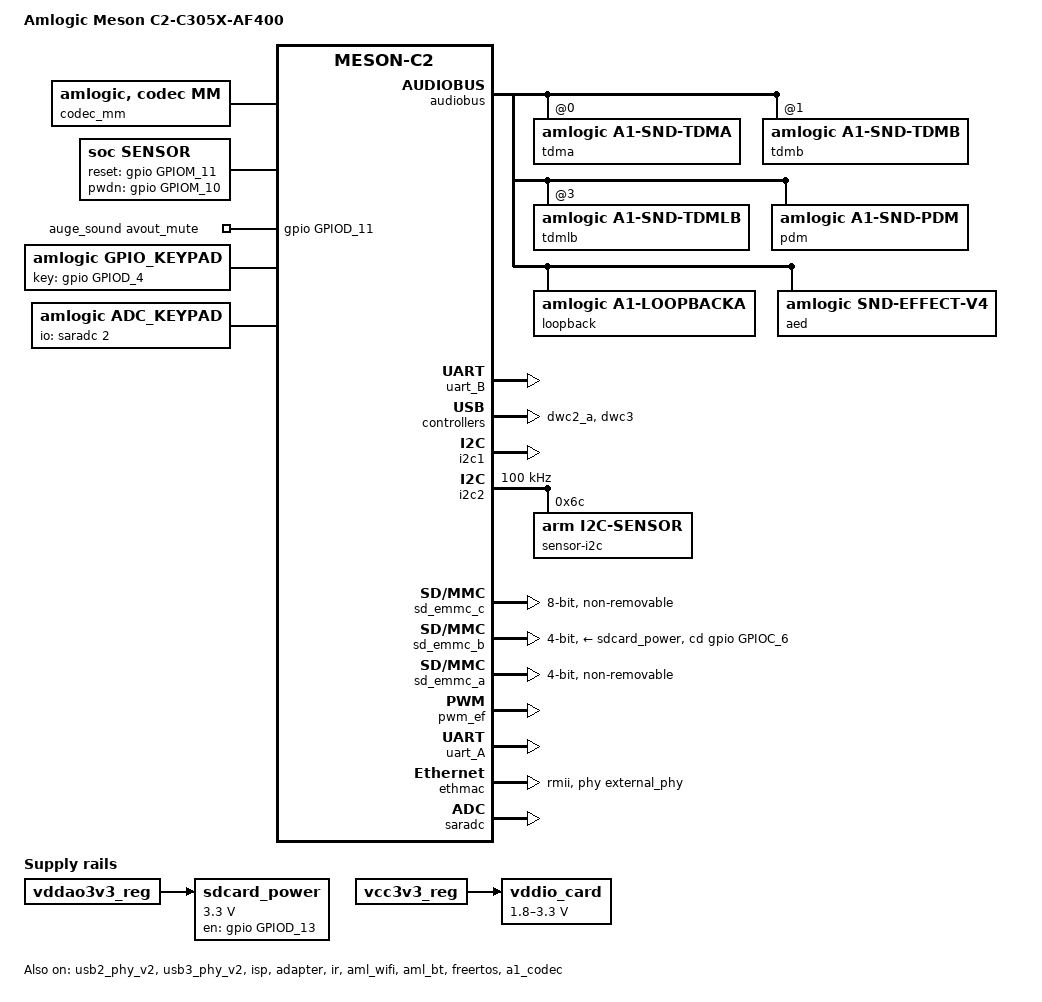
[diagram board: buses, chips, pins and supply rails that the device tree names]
// SPDX-License-Identifier: (GPL-2.0+ OR MIT)
/*
 * Copyright (c) 2019 Amlogic, Inc. All rights reserved.
 */

/dts-v1/;

#include "meson-c2.dtsi"
#include "partition_normal_linux.dtsi"

/ {
	compatible = "amlogic,c2";
	model = "Amlogic Meson C2-C305X-AF400";

	aliases {
		serial0 = &uart_B;
		serial1 = &uart_A;
		serial2 = &uart_C;
		serial3 = &uart_D;
		serial4 = &uart_E;
		i2c0 = &i2c0;
		i2c1 = &i2c1;
		i2c2 = &i2c2;
		i2c3 = &i2c3;
		i2c4 = &i2c4;
		spi0 = &spifc;
		spi1 = &spicc0;
		spi2 = &spicc1;
		tsensor0 = &tsensor;
	};

	chosen {
		stdout-path = "serial0:115200n8";
	};

	memory@0 {
		device_type = "memory";
		linux,usable-memory = <0x0 0x80000000>;
	};

	reserved-memory {
		#address-cells = <1>;
		#size-cells = <1>;
		ranges;
		secmon_reserved:linux,secmon {
			compatible = "shared-dma-pool";
			/*reusable;*/
			no-map;
			size = <0x800000>;
			alignment = <0x400000>;
			alloc-ranges = <0x05000000 0x800000>;
		};

		ion_cma_reserved:linux,ion-dev {
			compatible = "shared-dma-pool";
			reusable;
			size = <0x6400000>;
			alignment = <0x400000>;
		};

		rtos_reserved:linux,rtos_reserved {
			compatible = "amlogic, aml_rtos_memory";
			status = "okay";
			reg = <0x4800000 0x200000>;
			no-map;
		};

		dsp_fw_reserved:linux,dsp_fw {
			compatible = "shared-dma-pool";
			reusable;
			alignment = <0x400000>;
			reg = <0x3400000 0x800000>;
		};

		/*dsp_shm_reserved:linux,dsp_shm {      */
		/*	compatible = "dspshmem";            */
		/*	reg = <0x0 0x40820000 0x0 0x80000>; */
		/*	size = <0x80000>;                   */
		/*};*/

		autocap_reserved:linux,autocap_reserved {
			compatible = "amlogic, aml_autocap_memory";
			status = "okay";
			reg = <0x40000000 0x4000000>;
		};

		ramoops@0x08400000 {
			compatible = "ramoops";
			reg = <0x08400000 0x00100000>;
			record-size = <0x20000>;
			console-size = <0x20000>;
			ftrace-size = <0x80000>;
			pmsg-size = <0x0>;
			no-map;
		};

		isp_cma_reserved:linux,isp_cma {
			compatible = "shared-dma-pool";
			reusable;
			status = "okay";
			size = <0x6000000>;
			alignment = <0x400000>;
		};

		adapt_cma_reserved:linux,adapt_cma {
			compatible = "shared-dma-pool";
			reusable;
			status = "okay";
			size = <0xC00000>;
		};
		codec_mm_cma:linux,codec_mm_cma {
			compatible = "shared-dma-pool";
			reusable;
			/* ion_codec_mm max can alloc size 80M*/
			size = <0xb000000>;
			alignment = <0x400000>;
			linux,contiguous-region;
		};
		/* codec shared reserved */
		codec_mm_reserved:linux,codec_mm_reserved {
			compatible = "amlogic, codec-mm-reserved";
			size = <0x0>;
			alignment = <0x100000>;
			//no-map;
		};
		gdc_cma_reserved:linux,gdc_cma {
			compatible = "shared-dma-pool";
			reusable;
			status = "disabled";
			size = <0x04000000>;
			alignment = <0x400000>;
		};

		jpegenc_cma_reserved:linux,jpegenc_cma {
			compatible = "shared-dma-pool";
			reusable;
			size = <0x2400000>;
			alignment = <0x400000>;
		};

		/* global autoconfigured region for contiguous allocations */
		linux,cma {
			compatible = "shared-dma-pool";
			reusable;
			size = <0x800000>;
			alignment = <0x400000>;
			linux,cma-default;
			alloc-ranges = <0x0 0x30000000>;
		};
	};

	free_reserved {
		compatible = "amlogic, free_reserved";
		memory-region = <&autocap_reserved>;
		status = "okay";
	};

	codec_mm {
		compatible = "amlogic, codec, mm";
		memory-region = <&codec_mm_cma &codec_mm_reserved>;
		dev_name = "codec_mm";
		status = "okay";
	};

	sensor: sensor {
		compatible = "soc, sensor";
		status = "okay";
		sensor-name = "imx335"; /*imx290;os08a10;imx227*/
		pinctrl-names= "default";
		clocks = <&clkc CLKID_GP_PLL_MCLK1_GATE>;
		clock-names = "mclk_0";
		reset = <&gpio GPIOM_11 GPIO_ACTIVE_HIGH>;
		pwdn = <&gpio GPIOM_10 GPIO_ACTIVE_HIGH>;
	};

	iq: iq {
		compatible = "soc, iq";
		status = "okay";
		sensor-name = "imx335"; /*imx290;os08a10;imx227*/
	};

	lens: lens {
		compatible = "soc, lens";
		status = "okay";
	};

	sdcard_power: regulator-sdcard {
		compatible = "regulator-fixed";
		regulator-name = "SDCARD_POWER";
		vin-supply = <&vddao3v3_reg>;
		regulator-min-microvolt = <3300000>;
		regulator-max-microvolt = <3300000>;
		gpio = <&gpio GPIOD_13 GPIO_ACTIVE_HIGH>;
		enable-active-high;
		regulator-boot-on;
	};

	vddio_card: gpio-regulator {
		compatible = "regulator-gpio";
		regulator-name = "VDDIO_CARD";
		vin-supply = <&vcc3v3_reg>;
		regulator-min-microvolt = <1800000>;
		regulator-max-microvolt = <3300000>;
		gpio = <&gpio GPIOE_2 GPIO_ACTIVE_LOW>;
		gpios-states = <1>;
		enable-active-low;

		/* Based on P200 schematics, signal CARD_1.8V/3.3V_CTR */
		states = <1800000 0
			  3300000 1>;
	};

	aml_enc {
		compatible = "cnm, MultiEnc";
		dev_name = "amvenc_multi";
		status = "okay";
		config_mm_sz_mb = <256>;
		power-domains = <&pwrdm PDID_CX_WAVE>;
		clocks = <&clkc CLKID_SYS_DOS
			&clkc CLKID_DOS_APB
			&clkc CLKID_WAVE_A_GATE
			&clkc CLKID_WAVE_B_GATE
			&clkc CLKID_WAVE_C_GATE>;
		clock-names = "clk_dos",
			"clk_apb_dos",
			"clk_MultiEnc_A",
			"clk_MultiEnc_B",
			"clk_MultiEnc_C";
		interrupts = <0 58 1
			0 59 1>;
		interrupt-names = "multienc_irq",
			"multienc_idle_irq";
		#address-cells=<1>;
		#size-cells=<1>;
		ranges;
		io_reg_base {
			reg = <0xfe070000 0x10000>;
		};
	};
	/* Audio Related start */
	dummy_codec:dummy_codec{
		#sound-dai-cells = <0>;
		compatible = "amlogic, aml_dummy_codec";
		status = "okay";
	};

	a1_codec:a1_codec {
		#sound-dai-cells = <0>;
		compatible = "amlogic, c2_acodec";
		status = "okay";
		reg = <0xFE004800 0x20>;
		tdmout_index = <1>;
		tdmin_index = <1>;
		dat0_ch_sel = <0>;
		dacr_output_inv = <0>;
		power-domains = <&pwrdm PDID_CX_ACODEC>;
	};

	auge_sound {
		compatible = "amlogic, auge-sound-card";
		aml-audio-card,name = "AML-AUGESOUND";

		/*avout mute gpio*/
		avout_mute-gpios = <&gpio GPIOD_11 GPIO_ACTIVE_HIGH>;

		aml-audio-card,dai-link@0 {
			format = "dsp_a";
			mclk-fs = <512>;
			//continuous-clock;
			//bitclock-inversion;
			//frame-inversion;
			/* master mode */
			bitclock-master = <&tdma>;
			frame-master = <&tdma>;
			/* slave mode */
			/*
			 * bitclock-master = <&tdmacodec>;
			 * frame-master = <&tdmacodec>;
			 */
			suffix-name = "alsaPORT-pcm";
			tdmacpu: cpu {
				sound-dai = <&tdma>;
				dai-tdm-slot-tx-mask =
							<1 1 1 1 1 1 1 1>;
				dai-tdm-slot-rx-mask =
							<1 1 1 1 1 1 1 1>;
				dai-tdm-slot-num = <8>;
				dai-tdm-slot-width = <32>;
				system-clock-frequency = <24576000>;
			};
			tdmacodec: codec {
				sound-dai = <&dummy_codec>;
			};
		};

		aml-audio-card,dai-link@1 {
			format = "i2s";// "dsp_a";
			mclk-fs = <256>;
			//continuous-clock;
			//bitclock-inversion;
			//frame-inversion;
			/* master mode */
			bitclock-master = <&tdmb>;
			frame-master = <&tdmb>;
			/* slave mode */
			//bitclock-master = <&tdmbcodec>;
			//frame-master = <&tdmbcodec>;
			/* suffix-name, sync with android audio hal
			 * what's the dai link used for
			 */
			suffix-name = "alsaPORT-i2s";
			tdmbcpu: cpu {
				sound-dai = <&tdmb>;
				dai-tdm-slot-tx-mask = <1 1>;
				dai-tdm-slot-rx-mask = <0 1>;
				dai-tdm-slot-num = <2>;
				dai-tdm-slot-width = <32>;
				system-clock-frequency = <1155072000>;
			};
			tdmbcodec: codec {
				sound-dai = <&a1_codec>;
			};
		};

#if 0
		aml-audio-card,dai-link@2 {
			format = "i2s";// "dsp_a";
			mclk-fs = <256>;
			//continuous-clock;
			//bitclock-inversion;
			//frame-inversion;
			/* master mode */
			bitclock-master = <&tdmlb>;
			frame-master = <&tdmlb>;
			/* slave mode */
			//bitclock-master = <&tdmlbcodec>;
			//frame-master = <&tdmlbcodec>;
			/* suffix-name, sync with android audio hal
			 * what's the dai link used for
			 */
			suffix-name = "alsaPORT-i2s";
			cpu {
				sound-dai = <&tdmlb>;
				dai-tdm-slot-tx-mask = <1 1>;
				dai-tdm-slot-rx-mask = <1 1>;
				dai-tdm-slot-num = <2>;
				dai-tdm-slot-width = <32>;
				system-clock-frequency = <12288000>;
			};
			tdmlbcodec: codec {
				sound-dai = <&dummy_codec>;
			};
		};
#endif

		aml-audio-card,dai-link@2 {
			mclk-fs = <64>;
			/* suffix-name, sync with android audio hal
			 * what's the dai link used for
			 */
			suffix-name = "alsaPORT-pdm";
			cpu {
				sound-dai = <&pdm>;
			};
			codec {
				sound-dai = <&dummy_codec>;
			};
		};

		aml-audio-card,dai-link@4 {
			mclk-fs = <256>;
			continuous-clock;
			suffix-name = "alsaPORT-loopback";
			cpu {
				sound-dai = <&loopback>;
				system-clock-frequency = <12288000>;
			};
			codec {
				sound-dai = <&dummy_codec>;
			};
		};
	};
	audiolocker: locker {
		compatible = "amlogic, audiolocker";
		clocks = <&clkaudio CLKID_AUDIO_LOCKER_OUT
				&clkaudio CLKID_AUDIO_LOCKER_IN
				&clkaudio CLKID_AUDIO_MCLK_C
				&clkaudio CLKID_AUDIO_MCLK_D
				&clkc CLKID_FCLK_DIV2
				&clkc CLKID_FCLK_DIV3>;
		clock-names = "lock_out", "lock_in", "out_src",
					"in_src", "out_calc", "in_ref";
		interrupts = <GIC_SPI 42 IRQ_TYPE_EDGE_RISING>;
		interrupt-names = "irq";
		frequency = <49000000>; /* pll */
		dividor = <49>; /* locker's parent */
		power-domains = <&pwrdm PDID_CX_AUDIO>;
		status = "okay";
	};
	/* Audio Related end */
	/* to check
	 *wifivbat_power: regulator-wifivbat {
	 *	compatible = "regulator-fixed";
	 *	regulator-name = "WIFIVBAT_POWER";
	 *	vin-supply = <&vddao3v3_reg>;
	 *	regulator-min-microvolt = <3300000>;
	 *	regulator-max-microvolt = <3300000>;
	 *	gpio = <&gpio GPIOD_13 GPIO_ACTIVE_HIGH>;
	 *	enable-active-high;
	 *	regulator-boot-on;
	 *	regulator-always-on;
	 *};

	 *vddio_wf: regulator_wfio {
	 *	compatible = "regulator-fixed";
	 *	regulator-name = "VDDIO_WF";
	 *	vin-supply = <&vddao1v8_reg>;
	 *	regulator-min-microvolt = <1800000>;
	 *	regulator-max-microvolt = <1800000>;
	 *	regulator-boot-on;
	 *	regulator-always-on;
	 *};
	 */

	gpio_keypad{
		compatible = "amlogic, gpio_keypad";
		status = "okay";
		scan_period = <20>;
		key_num = <1>;
		key_name = "power";
		key_code = <116>;
		key-gpios = <&gpio  GPIOD_4  GPIO_ACTIVE_HIGH>;
		detect_mode = <0>;/*0:polling mode, 1:irq mode*/
	};

	unifykey{
		compatible = "amlogic,unifykey";
		status = "okay";
		unifykey-num = <22>;
		unifykey-index-0 = <&keysn_0>;
		unifykey-index-1 = <&keysn_1>;
		unifykey-index-2 = <&keysn_2>;
		unifykey-index-3 = <&keysn_3>;
		unifykey-index-4 = <&keysn_4>;
		unifykey-index-5 = <&keysn_5>;
		unifykey-index-6 = <&keysn_6>;
		unifykey-index-7 = <&keysn_7>;
		unifykey-index-8 = <&keysn_8>;
		unifykey-index-9 = <&keysn_9>;
		unifykey-index-10= <&keysn_10>;
		unifykey-index-11= <&keysn_11>;
		unifykey-index-12= <&keysn_12>;
		unifykey-index-13= <&keysn_13>;
		unifykey-index-14= <&keysn_14>;
		unifykey-index-15= <&keysn_15>;
		unifykey-index-16= <&keysn_16>;
		unifykey-index-17= <&keysn_17>;
		unifykey-index-18= <&keysn_18>;
		unifykey-index-19= <&keysn_19>;
		unifykey-index-20= <&keysn_20>;
		unifykey-index-21= <&keysn_21>;

		keysn_0: key_0{
			key-name = "usid";
			key-device = "normal";
			key-permit = "read","write","del";
		};
		keysn_1:key_1{
			key-name = "mac";
			key-device = "normal";
			key-permit = "read","write","del";
		};
		keysn_2:key_2{
			key-name = "hdcp";
			key-device = "secure";
			key-type = "sha1";
			key-permit = "read","write","del";
		};
		keysn_3:key_3{
			key-name = "secure_boot_set";
			key-device = "efuse";
			key-permit = "write";
		};
		keysn_4:key_4{
			key-name = "mac_bt";
			key-device = "normal";
			key-permit = "read","write","del";
			key-type  = "mac";
		};
		keysn_5:key_5{
			key-name = "mac_wifi";
			key-device = "normal";
			key-permit = "read","write","del";
			key-type = "mac";
		};
		keysn_6:key_6{
			key-name = "hdcp2_tx";
			key-device = "normal";
			key-permit = "read","write","del";
		};
		keysn_7:key_7{
			key-name = "hdcp2_rx";
			key-device = "normal";
			key-permit = "read","write","del";
		};
		keysn_8:key_8{
			key-name = "widevinekeybox";
			key-device = "secure";
			key-permit = "read","write","del";
		};
		keysn_9:key_9{
			key-name = "deviceid";
			key-device = "normal";
			key-permit = "read","write","del";
		};
		keysn_10:key_10{
			key-name = "hdcp22_fw_private";
			key-device = "secure";
			key-permit = "read","write","del";
		};
		keysn_11:key_11{
			key-name = "PlayReadykeybox25";
			key-device = "secure";
			key-permit = "read","write","del";
		};
		keysn_12:key_12{
			key-name = "prpubkeybox";// PlayReady
			key-device = "secure";
			key-permit = "read","write","del";
		};
		keysn_13:key_13{
			key-name = "prprivkeybox";// PlayReady
			key-device = "secure";
			key-permit = "read","write","del";
		};
		keysn_14:key_14{
			key-name = "attestationkeybox";// attestation key
			key-device = "secure";
			key-permit = "read","write","del";
		};
		keysn_15:key_15{
			key-name = "region_code";
			key-device = "normal";
			key-permit = "read","write","del";
		};
		keysn_16:key_16{
			key-name = "netflix_mgkid";
			key-device = "secure";
			key-permit = "read","write","del";
		};
		keysn_17:key_17{
			key-name = "attestationdevidbox";// attest dev id box
			key-device = "secure";
			key-permit = "read","write","del";
		};
		keysn_18:key_18{
			key-name = "oemkey";
			key-device = "normal";
			key-permit = "read","write","del";
		};
		keysn_19:key_19{
			key-name = "lcd";
			key-device = "normal";
			key-permit = "read","write","del";
		};
		keysn_20:key_20{
			key-name = "lcd_extern";
			key-device = "normal";
			key-permit = "read","write","del";
		};
		keysn_21:key_21{
			key-name = "backlight";
			key-device = "normal";
			key-permit = "read","write","del";
		};
	};//End unifykey

	adc_keypad {
		compatible = "amlogic, adc_keypad";
		status = "okay";
		key_name = "update", "vol-", "vol+", "ok";
		key_num = <4>;
		io-channels = <&saradc 2>;
		io-channel-names = "key-chan-2";
		key_chan = <2 2 2 2>;
		key_code = <141 114 115 28>;
		key_val = <0 143 266 389>; //val=voltage/1800mV*1023
		key_tolerance = <40 40 40 40>;
	};
};

/* Audio Related start */
&audiobus {
	tdma: tdm@0 {
		compatible = "amlogic, a1-snd-tdma";
		#sound-dai-cells = <0>;
		dai-tdm-lane-slot-mask-in = <0 1>;
		dai-tdm-lane-oe-slot-mask-out = <1 0>;
		dai-tdm-clk-sel = <0>;
		clocks = <&clkaudio CLKID_AUDIO_MCLK_A
				&clkc CLKID_FCLK_DIV3>;
		clock-names = "mclk", "clk_srcpll";
		pinctrl-names = "tdm_pins";
		pinctrl-0 = </*&tdmout_a*/ &tdmin_a>;
		power-domains = <&pwrdm PDID_CX_AUDIO>;

		status = "okay";
	};

	tdmb: tdm@1 {
		compatible = "amlogic, a1-snd-tdmb";
		#sound-dai-cells = <0>;
		dai-tdm-lane-slot-mask-in = <1 0 0 0>;
		dai-tdm-lane-slot-mask-out = <1 0 0 0>;
		/* dai-tdm-lane-oe-slot-mask-in = <0 1>; */
		dai-tdm-clk-sel = <1>;
		clocks = <&clkaudio CLKID_AUDIO_MCLK_B
				&clkaudio CLKID_AUDIO_MCLK_PAD0
				&clkc CLKID_HIFI_PLL>;
		clock-names = "mclk", "mclk_pad", "clk_srcpll";
		pinctrl-names = "tdm_pins";
		pinctrl-0 = <&tdmb_mclk &tdmout_b /*&tdmin_b*/>;

		/* tdmin data comes from ACODEC adc */
		acodec_adc = <1>;

		/*
		 * 0: tdmout_a;
		 * 1: tdmout_b;
		 * 2: tdmout_c;
		 * 3: spdifout;
		 * 4: spdifout_b;
		 */
		//samesource_sel = <3>;
		start_clk_enable = <1>;
		power-domains = <&pwrdm PDID_CX_AUDIO>;

		src-clk-freq = <1155072000>;

		status = "okay";
	};

	tdmlb:tdm@3 {
		compatible = "amlogic, a1-snd-tdmlb";
		#sound-dai-cells = <0>;

		dai-tdm-lane-lb-slot-mask-in = <1 0 0 0>;
		dai-tdm-clk-sel = <1>;

		clocks = <&clkaudio CLKID_AUDIO_MCLK_B
				&clkc CLKID_FCLK_DIV3>;
		clock-names = "mclk", "clk_srcpll";

		/*
		 * select tdmin_lb src;
		 * AXG
		 *  0: TDMOUTA
		 *  1: TDMOUTB
		 *  2: TDMOUTC
		 *  3: PAD_TDMINA
		 *  4: PAD_TDMINB
		 *  5: PAD_TDMINC
		 *
		 * G12A/G12B
		 *  0: TDMOUTA
		 *  1: TDMOUTB
		 *  2: TDMOUTC
		 *  3: PAD_TDMINA_DIN*
		 *  4: PAD_TDMINB_DIN*
		 *  5: PAD_TDMINC_DIN*
		 *  6: PAD_TDMINA_D*, oe pin
		 *  7: PAD_TDMINB_D*, oe pin
		 *
		 * TL1/SM1
		 *  0: TDMOUTA
		 *  1: TDMOUTB
		 *  2: TDMOUTC
		 *  3: PAD_TDMINA_DIN*
		 *  4: PAD_TDMINB_DIN*
		 *  5: PAD_TDMINC_DIN*
		 *  6: PAD_TDMINA_D*
		 *  7: PAD_TDMINB_D*
		 *  8: PAD_TDMINC_D*
		 *  9: HDMIRX_I2S
		 *  10: ACODEC_ADC
		 *
		 * A1
		 *  0: TDMOUTA
		 *  1: TDMOUTB
		 *  3: PAD_TDMINA_DIN*
		 *  4: PAD_TDMINB_DIN*
		 */

		lb-src-sel = <1>;
		power-domains = <&pwrdm PDID_CX_AUDIO>;

		status = "okay";
	};

	pdm: pdm {
		compatible = "amlogic, a1-snd-pdm";
		#sound-dai-cells = <0>;

		clocks = <&clkaudio CLKID_AUDIO2_GATE_PDM
			&clkc CLKID_HIFI_PLL
			&clkc CLKID_HIFI_PLL
			&clkaudio CLKID_AUDIO2_PDM_DCLK
			&clkaudio CLKID_AUDIO2_PDM_SYSCLK>;
		clock-names = "gate",
			"sysclk_srcpll",
			"dclk_srcpll",
			"pdm_dclk",
			"pdm_sysclk";

		pinctrl-names = "pdm_pins";
		pinctrl-0 = </*&pdmin*/>;

		/* mode 0~4, defalut:1 */
		filter_mode = <1>;
		lane-mask-in = <1 1 0 0>;

		sys-src-clk-freq = <1155072000>;
		power-domains = <&pwrdm PDID_CX_PDM>;

		status = "okay";
	};

	asrcb: resample@1 {
		compatible = "amlogic, c2-resample-b";
		clocks = <&clkc CLKID_HIFI_PLL
			&clkaudio CLKID_AUDIO_MCLK_D
			&clkaudio CLKID_AUDIO_RESAMPLEA>;
		clock-names = "resample_pll", "resample_src", "resample_clk";

		/*this resample is only used for loopback_A.*/
		/*only support 16000 or 48000Hz for capture*/
		capture_sample_rate = <16000>;

		/* hifi pll rate */
		src-clk-freq = <1155072000>;

		status = "disabled";
	};

	vad:vad {
		compatible = "amlogic, snd-vad-top";
		#sound-dai-cells = <0>;

		clocks = <&clkaudio CLKID_AUDIO2_GATE_TOVAD
			/* &clkc CLKID_FCLK_DIV2 */
			&xtal
			&clkaudio CLKID_AUDIO2_VAD_CLK>;
		clock-names = "gate", "pll", "clk";

		interrupts = <GIC_SPI 185 IRQ_TYPE_EDGE_RISING
				GIC_SPI 186 IRQ_TYPE_EDGE_RISING>;
		interrupt-names = "irq_wakeup", "irq_frame_sync";

		/*
		 * Data src sel:
		 * 2: tdmin_c, actually tdmin_vad
		 * 4: pdmin
		 */
		src = <4>;

		/*
		 * deal with hot word in user space or kernel space
		 * 0: in user space
		 * 1: in kernel space
		 */
		level = <1>;

		status = "disabled";
	};

	loopback: loopback {
		compatible = "amlogic, a1-loopbacka";
		#sound-dai-cells = <0>;

		original-src = <&tdmb>;
		//tdmin_lb-src = <&tdmin_lb>;

		clocks = <&clkaudio CLKID_AUDIO2_GATE_PDM
			&clkc CLKID_HIFI_PLL
			&clkc CLKID_HIFI_PLL
			&clkaudio CLKID_AUDIO2_PDM_DCLK
			&clkaudio CLKID_AUDIO2_PDM_SYSCLK
			&clkc CLKID_HIFI_PLL
			&clkaudio CLKID_AUDIO_MCLK_C>;
		clock-names = "pdm_gate",
			"pdm_sysclk_srcpll",
			"pdm_dclk_srcpll",
			"pdm_dclk",
			"pdm_sysclk",
			"tdminlb_mpll",
			"tdminlb_mclk";

		/* datain src
		 * 0: tdmin_a;
		 * 1: tdmin_b;
		 * 2: tdmin_c;
		 * 3: spdifin;
		 * 4: pdmin;
		 */
		datain_src = <1>;
		datain_chnum = <1>;
		datain_chmask = <0x1>;
		/* config which data pin for loopback */
		datain-lane-mask-in = <1 0 0 0>;

		sys-src-clk-freq = <1155072000>;

		/* calc mclk for datalb */
		mclk-fs = <256>;

		/* tdmin_lb src
		 * 0: tdmoutA
		 * 1: tdmoutB
		 * 2: tdmoutC
		 * 3: PAD_TDMINA_DIN*, refer to core pinmux
		 * 4: PAD_TDMINB_DIN*, refer to core pinmux
		 * 5: PAD_TDMINC_DIN*, refer to core pinmux
		 * 6: PAD_TDMINA_D*, oe, refer to core pinmux
		 * 7: PAD_TDMINB_D*, oe, refer to core pinmux
		 */
		/* if tdmin_lb >= 3, use external loopback */
		datalb_src = <1>;
		datalb_chnum = <2>;
		datalb_chmask = <0x1>;
		/* config which data pin as loopback */
		datalb-lane-mask-in = <1 0 0 0>;
		power-domains = <&pwrdm PDID_CX_AUDIO>;

		status = "okay";
	};

	aed:effect {
		compatible = "amlogic, snd-effect-v4";
		#sound-dai-cells = <0>;
		clocks = <&clkaudio CLKID_AUDIO_GATE_EQDRC
			&clkc CLKID_FCLK_DIV3
			&clkaudio CLKID_AUDIO_EQDRC>;
		clock-names = "gate", "srcpll", "eqdrc";
		/*
		 * 0:tdmout_a
		 * 1:tdmout_b
		 * 2:tdmout_c
		 * 3:spdifout
		 * 4:spdifout_b
		 */
		eqdrc_module = <1>;
		/* max 0xf, each bit for one lane, usually one lane */
		lane_mask = <0x1>;
		/* max 0xff, each bit for one channel */
		channel_mask = <0x3>;
		power-domains = <&pwrdm PDID_CX_AUDIO>;
		status = "okay";
	};
}; /* end of audiobus */
/* Audio Related end */

&periphs_pinctrl {
	/* Audio Related start */
		tdmout_a: tdmout_a {
		mux { /* GPIOX_11, GPIOX_10, GPIOX_9 */
			groups = "tdm_a_sclk",
				"tdm_a_fs",
				"tdm_a_dout0";
			function = "tdm_a";
		};
	};

	tdmin_a: tdmin_a {
		mux { /* GPIOX_8 */
			groups = "tdm_a_din1";
			function = "tdm_a";
		};
	};

	tdmb_mclk: tdmb_mclk {
		mux {
			groups = "mclk_0";
			function = "mclk_0";
			drive-strength = <2>;
		};
	};

	tdmout_b: tdmout_b {
		mux { /* GPIOA_1, GPIOA_2, GPIOA_3 */
			groups = "tdm_b_sclk",
				"tdm_b_fs",
				"tdm_b_dout0";
			function = "tdm_b";
			drive-strength = <2>;
		};
	};

	tdmin_b:tdmin_b {
		mux { /* GPIOA_7 */
			groups = "tdm_b_din0";
			function = "tdm_b";
			drive-strength = <2>;
		};
	};

	spdifin: spdifin {
		mux {/* GPIOF_6 */
			groups = "spdif_in_f6";
			function = "spdif_in";
		};
	};

	pdmin: pdmin {
		mux { /* GPIOM_3, GPIOM_2 */
			groups =
				"pdm_din0_m",
				"pdm_dclk_m";
			function = "pdm";
		};
	};

	/* Audio Related end */
};

&usb2_phy_v2 {
	status = "okay";
	portnum = <1>;
	otg-phy-index = <0>;
};

&usb3_phy_v2 {
	status = "okay";
	portnum = <0>;
	otg = <1>;
	gpio-vbus-power = "GPIOD_9";
	gpios = <&gpio GPIOD_9 GPIO_ACTIVE_HIGH>;
};

&aml_bc {
	status = "disable";
};

&aml_cc {
	status = "disable";
};

&uart_B {
	status = "okay";
};

&dwc2_a {
	status = "okay";
	/** 0: normal, 1: otg+dwc3 host only, 2: otg+dwc3 device only*/
	controller-type = <3>;
};

&dwc3 {
	status = "okay";
};

&i2c1 {
	status = "okay";
	pinctrl-names = "default";
	pinctrl-0 = <&i2c1_master_pins2>;
};

&i2c2 {
	status = "okay";
	pinctrl-names = "default", "sleep";
	pinctrl-0 = <&i2c2_master_pins2>;
	pinctrl-1 = <&i2c2_master_sleep_pins2>;
	clock-frequency = <100000>; /* default 100k */
	sensor-i2c@6c {
		compatible = "arm, i2c-sensor";
		reg = <0x6c>;
		reg-names = "i2c-sensor";
		slave-addr = <0x6c>;
		reg-type = <2>;
		reg-data-type = <1>;
		link-device = <&phycsi>;
	};
};

&isp {
	status = "okay";
	temper-line-offset = <0x1f80>;
	temper-buf-size = <32>;
	temper-frame-num = <1>;
	temper-frame-size = <0x2000000>;
	memory-region = <&isp_cma_reserved>;
};

&adapter {
	status = "okay";
	mem_alloc = <12>;
	memory-region = <&adapt_cma_reserved>;
};

&ir {
	status = "okay";
	pinctrl-0 = <&remote_pins>;
	pinctrl-names = "default";
};

&sd_emmc_c {
	status = "okay";
	pinctrl-0 = <&emmc_pins>;
	pinctrl-1 = <&emmc_clk_gate_pins>;
	pinctrl-2 = <&emmc_pins_sleep>;
	pinctrl-names = "default", "clk-gate", "sleep";
	cap-mmc-highspeed;
	non-removable;
	//mmc-ddr-1_8v;
	//mmc-hs200-1_8v;
	//mmc-hs400-1_8v;
	max-frequency = <200000000>;
	disable-wp;
	bus-width = <8>;
};

&sd_emmc_b {
	status = "okay";
	pinctrl-0 = <&sdcard_pins>;
	pinctrl-1 = <&sdcard_clk_gate_pins>;
	pinctrl-2 = <&sd_1bit_pins>;
	pinctrl-3 = <&b_uart_pins1
		     &sdcard_clk_gate_pins &ao_to_sd_uart_pins>;
	pinctrl-4 = <&b_uart_pins1
		     &sd_1bit_pins &ao_to_sd_uart_pins>;
	pinctrl-5 = <&sdcard_pins &b_uart_enable_pins1>;
	pinctrl-6 = <&b_uart_pins1
		     &ao_to_sd_uart_pins>;
	pinctrl-7 = <&sdcard_pins &b_uart_enable_pins1>;
	pinctrl-8 = <&b_uart_pins1
		     &ao_to_sd_uart_pins>;
	pinctrl-9 = <&sdcard_pins_sleep>;
	pinctrl-names = "sd_default",
			"clk-gate",
			"sd_1bit_pins",
			"sd_clk_cmd_uart_pins",
			"sd_1bit_uart_pins",
			"sd_to_ao_uart_pins",
			"ao_to_sd_uart_pins",
			"sd_to_ao_jtag_pins",
			"ao_to_sd_jtag_pins",
			 "sleep";
	bus-width = <4>;
	cap-sd-highspeed;
	sd-uhs-sdr104;
	disable-wp;
	max-frequency = <200000000>;
	cd-gpios = <&gpio GPIOC_6 GPIO_ACTIVE_HIGH>;
	//dat1-gpios = <&gpio GPIOC_1 GPIO_ACTIVE_HIGH>;
	dat3-gpios = <&gpio GPIOC_3 GPIO_ACTIVE_HIGH>;
	vmmc-supply = <&sdcard_power>;
	vqmmc-supply = <&vddio_card>;
};

&sd_emmc_a {
	status = "okay";
	pinctrl-0 = <&sdio_m_pins>;
	pinctrl-1 = <&sdio_m_clk_gate_pins>;
	pinctrl-names = "default", "clk-gate";
	bus-width = <4>;
	cap-sd-highspeed;
	sd-uhs-sdr104;
	non-removable;
	max-frequency = <200000000>;
	disable-wp;
	cap-sdio-irq;
	keep-power-in-suspend;
};

&pwm_ef {
	status = "okay";
	pinctrl-names = "default";
	pinctrl-0 = <&pwm_e_pins1>;
};

&aml_wifi {
	status = "okay";
	power_on-gpios = <&gpio GPIOM_6 GPIO_ACTIVE_HIGH>;
	interrupt-gpios = <&gpio GPIOM_7 GPIO_ACTIVE_HIGH>;
};

&aml_bt {
	status = "okay";
	reset-gpios = <&gpio GPIOX_17 GPIO_ACTIVE_HIGH>;
};

&uart_A {
	status = "okay";
};

&mtd_nand {
	status = "disabled";
	#address-cells = <1>;
	#size-cells = <0>;

	pinctrl-names = "nand_norb_mod","nand_cs_only";
	pinctrl-0 = <&all_nand_pins>;
	pinctrl-1 = <&nand_cs_pins>;
	bl_mode = <1>;
	fip_copies = <4>;
	fip_size = <0x200000>;
	ship_bad_block = <1>;
	disa_irq_flag = <1>;
	nand@bootloader {
		reg = <0>;
		#address-cells = <1>;
		#size-cells = <1>;
		nand-ecc-maximize;
		partition@0 {
			label = "bootloader";
			reg = <0x0 0x00000000>;
		};
	};
	nand@normal {
		reg = <0>;
		#address-cells = <1>;
		#size-cells = <1>;
		nand-ecc-maximize;

		partition@0 {
			label = "tpl";
			reg = <0x0 0x00000000>;
		};
		partition@2 {
			label = "recovery";
			reg = <0x0 0x2000000>;
		};
		partition@3 {
			label = "boot";
			reg = <0x0 0x2000000>;
		};
		partition@4 {
			label = "system";
			reg = <0x0 0x13000000>;
		};
		partition@5 {
			label = "data";
			reg = <0x0 0xffffffff>;
		};
	};
};

&spifc {
	status = "disabled";
	pinctrl-names = "default";
	pinctrl-0 = <&spifc_pins>;
	spi-nand@0 {
		compatible = "spi-nand";
		status = "disabled";
		reg = <0>;
		spi-max-frequency = <38000000>;
		spi-tx-bus-width = <4>;
		spi-rx-bus-width = <4>;
		bl_mode = <1>;
		fip_copies = <4>;
		fip_size = <0x200000>;
		partition = <&snand_partitions>;
		snand_partitions: snand_partitions{
			bootloader{
				offset=<0x0 0x0>;
				size=<0x0 0x0>;
			};
			tpl{
				offset=<0x0 0x0>;
				size=<0x0 0x0>;
			};
			logo{
				offset=<0x0 0x0>;
				size=<0x0 0x200000>;
			};
			recovery{
				offset=<0x0 0x0>;
				size=<0x0 0x1000000>;
			};
			boot{
				offset=<0x0 0x0>;
				size=<0x0 0x1000000>;
			};
			system{
				offset=<0x0 0x0>;
				size=<0x0 0x4000000>;
			};
			data{
				offset=<0xffffffff 0xffffffff>;
				size=<0x0 0x0>;
			};
		};
	};
};

&ethmac {
	pinctrl-0 = <&eth_pins>;
	pinctrl-names = "default";
	status = "okay";
	phy-mode = "rmii";
	phy-handle = <&external_phy>;
//	amlogic,tx-delay-ns = <2>;
	mc_val = <0x1624>;
};

&saradc {
	status = "okay";
};

&spicc1 {
	status = "disabled";
	pinctrl-names = "default";
	pinctrl-0 = <&spicc1_pins1>;
	cs-gpios = <&gpio GPIOA_14 0>;
};

&freertos {
	status = "okay";
};
